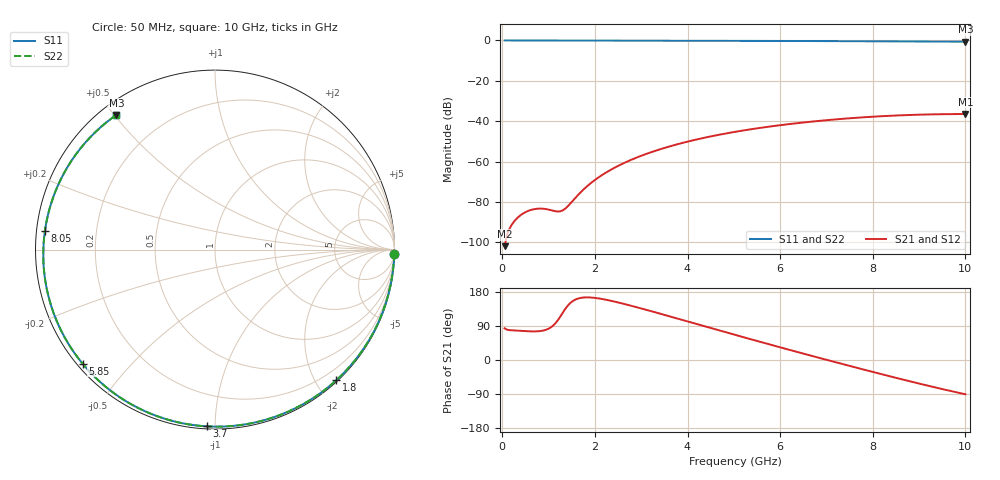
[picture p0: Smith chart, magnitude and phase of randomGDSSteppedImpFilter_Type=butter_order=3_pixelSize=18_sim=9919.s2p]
! freq	dB(S11)	phase(S11)	dB(S12)	phase(S12)
!  dB(S21)	phase(S21)	dB(S22)	phase(S22)
!S-par simulation data
#  GHz  S  DB  R 50
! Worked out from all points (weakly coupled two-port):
!   200 points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, 50 MHz to 10 GHz, reference 50 ohm
!   highest |S21| = -36.45 dB at 10 GHz (marker M1); lowest = -101.9 dB at 50 MHz (marker M2)
!   lowest |S11| = -0.6 dB at 10 GHz (marker M3), VSWR 27.61, Z = 2.28 + j25.3 ohm
!   |S11| at or under -10 dB: nowhere
!   |S22| runs from -0.6 to 0.0 dB; largest |S21 - S12| = 0
!   S11 on the Smith chart (normalised r, x): 50 MHz: 1, -88; 1.8 GHz: 0.02, -2.29; 3.7 GHz: 0.01, -0.95; 5.85 GHz: 0.02, -0.37; 8.05 GHz: 0.02, +0.06; 10 GHz: 0.05, +0.51
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0.05  -0.00 -1.3  -101.92 83.6  -101.92 83.6  -0.00 -1.3
0.4  -0.02 -10.7  -86.48 77.0  -86.48 77.0  -0.02 -10.7
0.75  -0.03 -20.0  -83.38 75.6  -83.38 75.6  -0.03 -20.0
1.5  -0.05 -39.5  -79.99 153.7  -79.99 153.7  -0.05 -39.5
1.75  -0.06 -45.9  -73.92 164.8  -73.92 164.8  -0.06 -45.9
1.8  -0.06 -47.2  -72.87 165.2  -72.87 165.2  -0.06 -47.2
2.1  -0.07 -54.7  -67.50 162.1  -67.50 162.1  -0.07 -54.7
2.45  -0.08 -63.3  -62.73 153.3  -62.73 153.3  -0.08 -63.3
2.9  -0.10 -74.2  -58.03 139.3  -58.03 139.3  -0.10 -74.2
3.4  -0.11 -85.9  -53.96 122.5  -53.96 122.5  -0.11 -85.9
3.7  -0.12 -92.7  -51.93 112.2  -51.93 112.2  -0.12 -92.7
4.35  -0.15 -107.2  -48.27 89.7  -48.27 89.7  -0.15 -107.2
5.05  -0.18 -122.3  -45.18 65.6  -45.18 65.6  -0.18 -122.3
5.85  -0.23 -139.3  -42.42 38.4  -42.42 38.4  -0.23 -139.3
6.7  -0.29 -157.1  -40.16 10.3  -40.16 10.3  -0.29 -157.1
7.4  -0.35 -172.0  -38.73 -12.4  -38.73 -12.4  -0.35 -172.0
8.05  -0.42 173.7  -37.71 -33.0  -37.71 -33.0  -0.42 173.7
8.35  -0.45 166.9  -37.34 -42.4  -37.34 -42.4  -0.45 166.9
8.75  -0.49 157.6  -36.95 -54.7  -36.95 -54.7  -0.49 157.6
9.15  -0.53 148.0  -36.68 -66.6  -36.68 -66.6  -0.53 148.0
9.55  -0.58 138.0  -36.52 -78.1  -36.52 -78.1  -0.58 138.0
10  -0.63 126.2  -36.45 -90.4  -36.45 -90.4  -0.63 126.2
